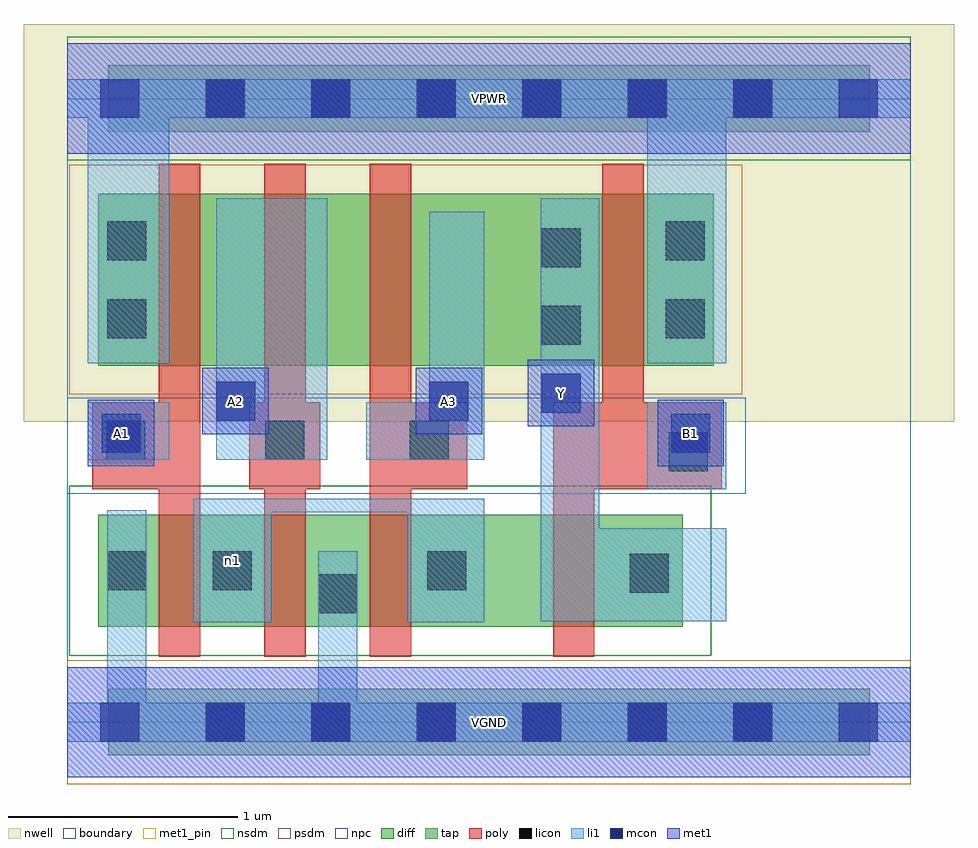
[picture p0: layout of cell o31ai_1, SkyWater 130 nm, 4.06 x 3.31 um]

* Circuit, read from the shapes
.subckt o31ai_1 A1 A2 A3 B1 VGND VPWR Y n1
XM1 n1 A1 VGND VGND sky130_fd_pr__nfet_01v8 w=0.49 l=0.18
XM2 VGND A2 n1 VGND sky130_fd_pr__nfet_01v8 w=0.49 l=0.18
XM3 n1 A3 VGND VGND sky130_fd_pr__nfet_01v8 w=0.49 l=0.18
XM4 Y B1 n1 VGND sky130_fd_pr__nfet_01v8 w=0.49 l=0.18
XM5 n2 A1 VPWR VPWR sky130_fd_pr__pfet_01v8 w=0.75 l=0.18
XM6 n3 A2 n2 VPWR sky130_fd_pr__pfet_01v8 w=0.75 l=0.18
XM7 Y A3 n3 VPWR sky130_fd_pr__pfet_01v8 w=0.75 l=0.18
XM8 VPWR B1 Y VPWR sky130_fd_pr__pfet_01v8 w=0.75 l=0.18
.ends

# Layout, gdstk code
import gdstk
lib = gdstk.Library(unit=1e-6, precision=1e-09)
def R(c, l, rs):  # rectangles x0, y0, x1, y1
    for r in rs: c.add(gdstk.rectangle(r[:2], r[2:], *l))
def A(c, l, x, y, w, h, nx, ny, dx, dy):  # array of equal rectangles
    R(c, l, [(x+i*dx, y+j*dy, x+i*dx+w, y+j*dy+h) for i in range(nx) for j in range(ny)])
nwell = (64, 20)
diff = (65, 20)
tap = (65, 44)
poly = (66, 20)
licon = (66, 44)
li1 = (67, 20)
mcon = (67, 44)
met1_pin = (68, 16)
met1 = (68, 20)
nsdm = (93, 44)
psdm = (94, 20)
npc = (95, 20)
boundary = (235, 4)

o31ai_1 = lib.new_cell('o31ai_1')
R(o31ai_1, nwell, [(-0.19,1.31,3.87,3.045), (0,1.31,3.68,3.045)])
R(o31ai_1, diff, [(0.135,0.415,2.685,0.905), (0.135,1.555,2.82,2.305)])
R(o31ai_1, tap, [(0.18,-0.145,3.5,0.145), (0.18,2.575,3.5,2.865)])
A(o31ai_1, poly, 0.4, 0.285, 0.18, 2.15, 3, 1, 0.46, 0)
R(o31ai_1, poly, [(2.12,0.285,2.3,1.395), (0.11,1.015,0.58,1.395), (0.795,1.015,1.105,1.395), (1.32,1.015,1.745,1.395), (2.12,1.015,2.855,1.395), (2.335,1.015,2.515,2.435)])
A(o31ai_1, licon, 0.605, -0.085, 0.17, 0.17, 6, 2, 0.46, 2.72)
R(o31ai_1, licon, [(1.095,0.475,1.265,0.645), (2.455,0.565,2.625,0.735), (0.175,0.575,0.345,0.745), (0.635,0.575,0.805,0.745), (1.57,0.575,1.74,0.745), (2.625,1.095,2.795,1.265), (0.17,1.145,0.34,1.315), (0.865,1.145,1.035,1.315), (1.495,1.145,1.665,1.315), (2.07,1.645,2.24,1.815), (0.175,1.675,0.345,1.845), (2.61,1.675,2.78,1.845), (2.07,1.985,2.24,2.155), (0.175,2.015,0.345,2.185), (2.61,2.015,2.78,2.185)])
R(o31ai_1, li1, [(0,-0.085,3.68,0.085), (0.175,-0.085,0.345,0.925), (1.095,-0.085,1.265,0.745), (0.55,0.435,0.89,0.975), (1.485,0.435,1.82,0.975), (2.065,0.44,2.32,2.285), (2.065,0.44,2.875,0.845), (0.55,0.915,1.82,0.975), (2.53,1.015,2.875,1.395), (0.09,1.145,0.445,1.395), (0.65,1.145,1.135,2.285), (1.305,1.145,1.82,1.395), (1.58,1.145,1.82,2.225), (0.09,1.565,0.445,2.805), (2.53,1.565,2.875,2.805), (0,2.635,3.68,2.805)])
A(o31ai_1, mcon, 0.145, -0.085, 0.17, 0.17, 8, 2, 0.46, 2.72)
R(o31ai_1, mcon, [(0.15,1.175,0.32,1.345), (2.635,1.175,2.805,1.345), (0.65,1.315,0.82,1.485), (1.58,1.315,1.75,1.485), (2.07,1.35,2.24,1.52)])
R(o31ai_1, met1_pin, [(0,-0.24,3.68,0.24), (0.09,1.115,0.38,1.405), (2.575,1.115,2.865,1.405), (0.59,1.255,0.88,1.545), (1.52,1.255,1.81,1.545), (2.01,1.29,2.3,1.58), (0,2.48,3.68,2.96)])
R(o31ai_1, met1, [(0,-0.24,3.68,0.24), (0.09,1.115,0.38,1.405), (2.575,1.115,2.865,1.405), (0.59,1.255,0.88,1.545), (1.52,1.255,1.81,1.545), (2.01,1.29,2.3,1.58), (0,2.48,3.68,2.96)])
R(o31ai_1, nsdm, [(0.01,0.29,2.81,1.03), (0,2.45,3.68,2.99)])
R(o31ai_1, psdm, [(0,-0.27,3.68,0.27), (0.01,1.43,2.945,2.43)])
R(o31ai_1, npc, [(0,0.995,2.96,1.415)])
R(o31ai_1, boundary, [(0,0,3.68,2.72)])
o31ai_1.add(gdstk.Label('n1', (0.72,0.705), layer=67, texttype=5))
o31ai_1.add(gdstk.Label('A1', (0.235,1.26), layer=68, texttype=5))
o31ai_1.add(gdstk.Label('A2', (0.735,1.4), layer=68, texttype=5))
o31ai_1.add(gdstk.Label('A3', (1.665,1.4), layer=68, texttype=5))
o31ai_1.add(gdstk.Label('B1', (2.72,1.26), layer=68, texttype=5))
o31ai_1.add(gdstk.Label('Y', (2.155,1.435), layer=68, texttype=5))
o31ai_1.add(gdstk.Label('VPWR', (1.84,2.72), layer=68, texttype=5))
o31ai_1.add(gdstk.Label('VGND', (1.84,0), layer=68, texttype=5))
o31ai_1.add(gdstk.Label('A1', (0.235,1.26), layer=68, texttype=16))
o31ai_1.add(gdstk.Label('A2', (0.735,1.4), layer=68, texttype=16))
o31ai_1.add(gdstk.Label('A3', (1.665,1.4), layer=68, texttype=16))
o31ai_1.add(gdstk.Label('B1', (2.72,1.26), layer=68, texttype=16))
o31ai_1.add(gdstk.Label('Y', (2.155,1.435), layer=68, texttype=16))
o31ai_1.add(gdstk.Label('VPWR', (1.84,2.72), layer=68, texttype=16))
o31ai_1.add(gdstk.Label('VGND', (1.84,0), layer=68, texttype=16))

lib.write_gds('o31ai_1.gds')
